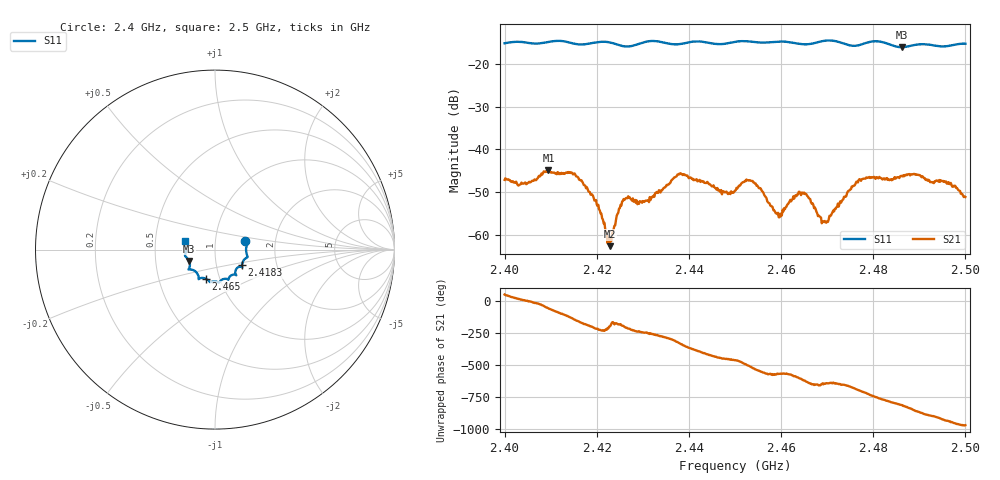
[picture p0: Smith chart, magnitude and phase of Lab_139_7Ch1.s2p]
# Hz S RI R 50
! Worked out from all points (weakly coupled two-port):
!   601 points, 2.4 GHz to 2.5 GHz, reference 50 ohm
!   highest |S21| = -44.88 dB at 2.4095 GHz (marker M1); lowest = -62.7 dB at 2.4228 GHz (marker M2)
!   lowest |S11| = -16.1 dB at 2.4862 GHz (marker M3), VSWR 1.37, Z = 37.2 - j4.84 ohm
!   |S11| at or under -10 dB: start of sweep to end of sweep
!   S12 and S22 are empty: the file has one direction only
!   S11 on the Smith chart (normalised r, x): 2.4 GHz: 1.40, +0.14; 2.4183 GHz: 1.33, -0.24; 2.465 GHz: 0.86, -0.28; 2.5 GHz: 0.71, +0.07
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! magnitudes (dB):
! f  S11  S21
! 2.4 GHz  -15.1  -47.2
! 2.4052 GHz  -15.1  -47.8
! 2.4095 GHz  -14.8  -44.9
! 2.4167 GHz  -15.4  -47.3
! 2.4183 GHz  -15.2  -50.0
! 2.4202 GHz  -14.9  -53.3
! 2.4228 GHz  -14.9  -62.7
! 2.426 GHz  -15.9  -51.9
! 2.4293 GHz  -15.2  -52.2
! 2.4333 GHz  -14.7  -50.2
! 2.438 GHz  -15.4  -45.9
! 2.45 GHz  -14.8  -49.7
! 2.4537 GHz  -14.8  -47.4
! 2.4597 GHz  -14.8  -55.9
! 2.465 GHz  -15.4  -50.2
! 2.4667 GHz  -15.2  -52.8
! 2.4697 GHz  -14.5  -57.1
! 2.4767 GHz  -15.7  -47.8
! 2.4833 GHz  -15.3  -47.1
! 2.4862 GHz  -16.1  -46.2
! 2.4953 GHz  -15.9  -47.6
! 2.5 GHz  -15.2  -51.2
